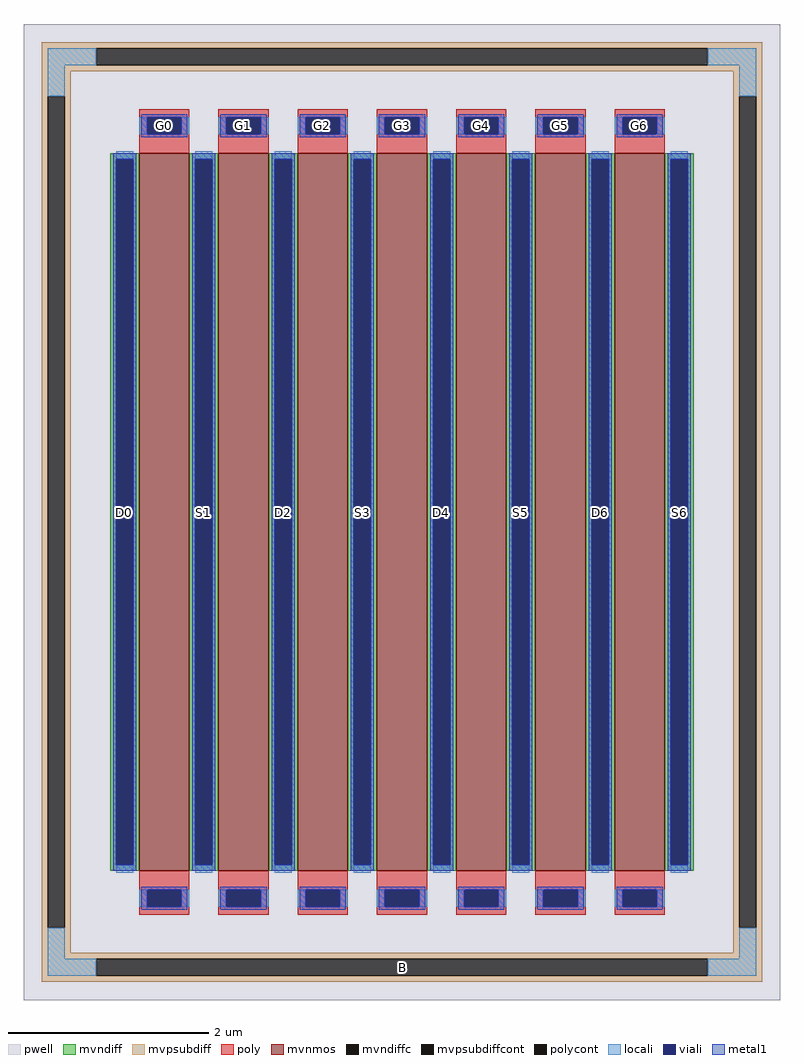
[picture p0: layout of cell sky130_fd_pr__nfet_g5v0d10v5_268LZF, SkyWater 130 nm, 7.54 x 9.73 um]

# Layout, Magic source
magic
tech sky130A
magscale 1 2
<< pwell >>
rect -754 -973 754 973
<< mvnmos >>
rect -524 -715 -424 715
rect -366 -715 -266 715
rect -208 -715 -108 715
rect -50 -715 50 715
rect 108 -715 208 715
rect 266 -715 366 715
rect 424 -715 524 715
<< mvndiff >>
rect -582 703 -524 715
rect -582 -703 -570 703
rect -536 -703 -524 703
rect -582 -715 -524 -703
rect -424 703 -366 715
rect -424 -703 -412 703
rect -378 -703 -366 703
rect -424 -715 -366 -703
rect -266 703 -208 715
rect -266 -703 -254 703
rect -220 -703 -208 703
rect -266 -715 -208 -703
rect -108 703 -50 715
rect -108 -703 -96 703
rect -62 -703 -50 703
rect -108 -715 -50 -703
rect 50 703 108 715
rect 50 -703 62 703
rect 96 -703 108 703
rect 50 -715 108 -703
rect 208 703 266 715
rect 208 -703 220 703
rect 254 -703 266 703
rect 208 -715 266 -703
rect 366 703 424 715
rect 366 -703 378 703
rect 412 -703 424 703
rect 366 -715 424 -703
rect 524 703 582 715
rect 524 -703 536 703
rect 570 -703 582 703
rect 524 -715 582 -703
<< mvndiffc >>
rect -570 -703 -536 703
rect -412 -703 -378 703
rect -254 -703 -220 703
rect -96 -703 -62 703
rect 62 -703 96 703
rect 220 -703 254 703
rect 378 -703 412 703
rect 536 -703 570 703
<< mvpsubdiff >>
rect -718 925 718 937
rect -718 891 -610 925
rect 610 891 718 925
rect -718 879 718 891
rect -718 829 -660 879
rect -718 -829 -706 829
rect -672 -829 -660 829
rect 660 829 718 879
rect -718 -879 -660 -829
rect 660 -829 672 829
rect 706 -829 718 829
rect 660 -879 718 -829
rect -718 -891 718 -879
rect -718 -925 -610 -891
rect 610 -925 718 -891
rect -718 -937 718 -925
<< mvpsubdiffcont >>
rect -610 891 610 925
rect -706 -829 -672 829
rect 672 -829 706 829
rect -610 -925 610 -891
<< poly >>
rect -524 787 -424 803
rect -524 753 -508 787
rect -440 753 -424 787
rect -524 715 -424 753
rect -366 787 -266 803
rect -366 753 -350 787
rect -282 753 -266 787
rect -366 715 -266 753
rect -208 787 -108 803
rect -208 753 -192 787
rect -124 753 -108 787
rect -208 715 -108 753
rect -50 787 50 803
rect -50 753 -34 787
rect 34 753 50 787
rect -50 715 50 753
rect 108 787 208 803
rect 108 753 124 787
rect 192 753 208 787
rect 108 715 208 753
rect 266 787 366 803
rect 266 753 282 787
rect 350 753 366 787
rect 266 715 366 753
rect 424 787 524 803
rect 424 753 440 787
rect 508 753 524 787
rect 424 715 524 753
rect -524 -753 -424 -715
rect -524 -787 -508 -753
rect -440 -787 -424 -753
rect -524 -803 -424 -787
rect -366 -753 -266 -715
rect -366 -787 -350 -753
rect -282 -787 -266 -753
rect -366 -803 -266 -787
rect -208 -753 -108 -715
rect -208 -787 -192 -753
rect -124 -787 -108 -753
rect -208 -803 -108 -787
rect -50 -753 50 -715
rect -50 -787 -34 -753
rect 34 -787 50 -753
rect -50 -803 50 -787
rect 108 -753 208 -715
rect 108 -787 124 -753
rect 192 -787 208 -753
rect 108 -803 208 -787
rect 266 -753 366 -715
rect 266 -787 282 -753
rect 350 -787 366 -753
rect 266 -803 366 -787
rect 424 -753 524 -715
rect 424 -787 440 -753
rect 508 -787 524 -753
rect 424 -803 524 -787
<< polycont >>
rect -508 753 -440 787
rect -350 753 -282 787
rect -192 753 -124 787
rect -34 753 34 787
rect 124 753 192 787
rect 282 753 350 787
rect 440 753 508 787
rect -508 -787 -440 -753
rect -350 -787 -282 -753
rect -192 -787 -124 -753
rect -34 -787 34 -753
rect 124 -787 192 -753
rect 282 -787 350 -753
rect 440 -787 508 -753
<< locali >>
rect -706 891 -610 925
rect 610 891 706 925
rect -706 829 -672 891
rect 672 829 706 891
rect -524 753 -508 787
rect -440 753 -424 787
rect -366 753 -350 787
rect -282 753 -266 787
rect -208 753 -192 787
rect -124 753 -108 787
rect -50 753 -34 787
rect 34 753 50 787
rect 108 753 124 787
rect 192 753 208 787
rect 266 753 282 787
rect 350 753 366 787
rect 424 753 440 787
rect 508 753 524 787
rect -570 703 -536 719
rect -570 -719 -536 -703
rect -412 703 -378 719
rect -412 -719 -378 -703
rect -254 703 -220 719
rect -254 -719 -220 -703
rect -96 703 -62 719
rect -96 -719 -62 -703
rect 62 703 96 719
rect 62 -719 96 -703
rect 220 703 254 719
rect 220 -719 254 -703
rect 378 703 412 719
rect 378 -719 412 -703
rect 536 703 570 719
rect 536 -719 570 -703
rect -524 -787 -508 -753
rect -440 -787 -424 -753
rect -366 -787 -350 -753
rect -282 -787 -266 -753
rect -208 -787 -192 -753
rect -124 -787 -108 -753
rect -50 -787 -34 -753
rect 34 -787 50 -753
rect 108 -787 124 -753
rect 192 -787 208 -753
rect 266 -787 282 -753
rect 350 -787 366 -753
rect 424 -787 440 -753
rect 508 -787 524 -753
rect -706 -891 -672 -829
rect 672 -891 706 -829
rect -706 -925 -610 -891
rect 610 -925 706 -891
<< viali >>
rect -508 753 -440 787
rect -350 753 -282 787
rect -192 753 -124 787
rect -34 753 34 787
rect 124 753 192 787
rect 282 753 350 787
rect 440 753 508 787
rect -570 -703 -536 703
rect -412 -703 -378 703
rect -254 -703 -220 703
rect -96 -703 -62 703
rect 62 -703 96 703
rect 220 -703 254 703
rect 378 -703 412 703
rect 536 -703 570 703
rect -508 -787 -440 -753
rect -350 -787 -282 -753
rect -192 -787 -124 -753
rect -34 -787 34 -753
rect 124 -787 192 -753
rect 282 -787 350 -753
rect 440 -787 508 -753
<< metal1 >>
rect -520 787 -428 793
rect -520 753 -508 787
rect -440 753 -428 787
rect -520 747 -428 753
rect -362 787 -270 793
rect -362 753 -350 787
rect -282 753 -270 787
rect -362 747 -270 753
rect -204 787 -112 793
rect -204 753 -192 787
rect -124 753 -112 787
rect -204 747 -112 753
rect -46 787 46 793
rect -46 753 -34 787
rect 34 753 46 787
rect -46 747 46 753
rect 112 787 204 793
rect 112 753 124 787
rect 192 753 204 787
rect 112 747 204 753
rect 270 787 362 793
rect 270 753 282 787
rect 350 753 362 787
rect 270 747 362 753
rect 428 787 520 793
rect 428 753 440 787
rect 508 753 520 787
rect 428 747 520 753
rect -576 703 -530 715
rect -576 -703 -570 703
rect -536 -703 -530 703
rect -576 -715 -530 -703
rect -418 703 -372 715
rect -418 -703 -412 703
rect -378 -703 -372 703
rect -418 -715 -372 -703
rect -260 703 -214 715
rect -260 -703 -254 703
rect -220 -703 -214 703
rect -260 -715 -214 -703
rect -102 703 -56 715
rect -102 -703 -96 703
rect -62 -703 -56 703
rect -102 -715 -56 -703
rect 56 703 102 715
rect 56 -703 62 703
rect 96 -703 102 703
rect 56 -715 102 -703
rect 214 703 260 715
rect 214 -703 220 703
rect 254 -703 260 703
rect 214 -715 260 -703
rect 372 703 418 715
rect 372 -703 378 703
rect 412 -703 418 703
rect 372 -715 418 -703
rect 530 703 576 715
rect 530 -703 536 703
rect 570 -703 576 703
rect 530 -715 576 -703
rect -520 -753 -428 -747
rect -520 -787 -508 -753
rect -440 -787 -428 -753
rect -520 -793 -428 -787
rect -362 -753 -270 -747
rect -362 -787 -350 -753
rect -282 -787 -270 -753
rect -362 -793 -270 -787
rect -204 -753 -112 -747
rect -204 -787 -192 -753
rect -124 -787 -112 -753
rect -204 -793 -112 -787
rect -46 -753 46 -747
rect -46 -787 -34 -753
rect 34 -787 46 -753
rect -46 -793 46 -787
rect 112 -753 204 -747
rect 112 -787 124 -753
rect 192 -787 204 -753
rect 112 -793 204 -787
rect 270 -753 362 -747
rect 270 -787 282 -753
rect 350 -787 362 -753
rect 270 -793 362 -787
rect 428 -753 520 -747
rect 428 -787 440 -753
rect 508 -787 520 -753
rect 428 -793 520 -787
<< labels >>
rlabel mvpsubdiffcont 0 -908 0 -908 0 B
port 1 nsew
rlabel mvndiffc -553 0 -553 0 0 D0
port 2 nsew
rlabel polycont -474 770 -474 770 0 G0
port 3 nsew
rlabel mvndiffc -395 0 -395 0 0 S1
port 4 nsew
rlabel polycont -316 770 -316 770 0 G1
port 5 nsew
rlabel mvndiffc -237 0 -237 0 0 D2
port 6 nsew
rlabel polycont -158 770 -158 770 0 G2
port 7 nsew
rlabel mvndiffc -79 0 -79 0 0 S3
port 8 nsew
rlabel polycont 0 770 0 770 0 G3
port 9 nsew
rlabel mvndiffc 79 0 79 0 0 D4
port 10 nsew
rlabel polycont 158 770 158 770 0 G4
port 11 nsew
rlabel mvndiffc 237 0 237 0 0 S5
port 12 nsew
rlabel polycont 316 770 316 770 0 G5
port 13 nsew
rlabel mvndiffc 395 0 395 0 0 D6
port 14 nsew
rlabel mvndiffc 553 0 553 0 0 S6
port 15 nsew
rlabel polycont 474 770 474 770 0 G6
port 16 nsew
<< properties >>
string FIXED_BBOX -689 -908 689 908
string gencell sky130_fd_pr__nfet_g5v0d10v5
string library sky130
string parameters w 7.15 l 0.5 m 1 nf 7 diffcov 100 polycov 100 guard 1 glc 1 grc 1 gtc 1 gbc 1 tbcov 100 rlcov 100 topc 1 botc 1 poverlap 0 doverlap 1 lmin 0.50 wmin 0.42 class mosfet compatible {sky130_fd_pr__nfet_01v8 sky130_fd_pr__nfet_01v8_lvt  sky130_fd_bs_flash__special_sonosfet_star  sky130_fd_pr__nfet_g5v0d10v5 sky130_fd_pr__nfet_05v0_nvt  sky130_fd_pr__nfet_03v3_nvt} full_metal 1 conn_gates 0 viasrc 100 viadrn 100 viagate 100 viagb 0 viagr 0 viagl 0 viagt 0 doports 1
<< end >>
